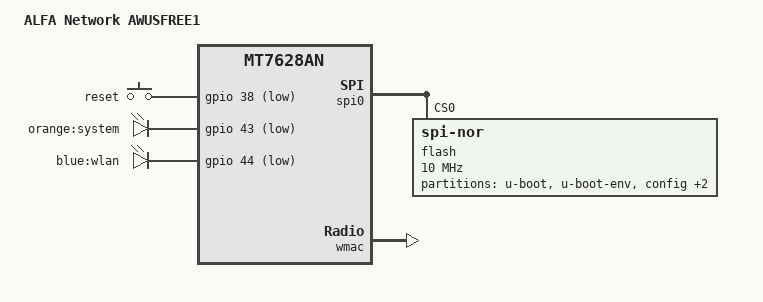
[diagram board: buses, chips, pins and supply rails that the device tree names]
// SPDX-License-Identifier: BSD-3-Clause
/*
 *  Copyright (C) 2018 Piotr Dymacz <pepe2k@gmail.com>
 *  All rights reserved.
 */

#include "mt7628an.dtsi"

#include <dt-bindings/gpio/gpio.h>
#include <dt-bindings/input/input.h>

/ {
	compatible = "alfa-network,awusfree1", "mediatek,mt7628an-soc";
	model = "ALFA Network AWUSFREE1";

	aliases {
		led-boot = &led_system;
		led-failsafe = &led_system;
		led-running = &led_system;
		led-upgrade = &led_system;
	};

	chosen {
		bootargs = "console=ttyS0,115200";
	};

	keys {
		compatible = "gpio-keys";

		reset {
			label = "reset";
			gpios = <&gpio 38 GPIO_ACTIVE_LOW>;
			linux,code = <KEY_RESTART>;
		};
	};

	leds {
		compatible = "gpio-leds";

		led_system: system {
			label = "orange:system";
			gpios = <&gpio 43 GPIO_ACTIVE_LOW>;
		};

		wlan {
			label = "blue:wlan";
			gpios = <&gpio 44 GPIO_ACTIVE_LOW>;
		};
	};
};

&ehci {
	status = "disabled";
};

&esw {
	mediatek,portdisable = <0x1e>;
};

&ethernet {
	mtd-mac-address = <&factory 0x2e>;
};

&ohci {
	status = "disabled";
};

&state_default {
	gpio {
		groups = "p0led_an", "wdt", "wled_an";
		function = "gpio";
	};

	ext_lna {
		groups = "uart1";
		function = "sw_r";
	};

	ext_pa {
		groups = "i2s";
		function = "antenna";
	};
};

&spi0 {
	status = "okay";

	flash@0 {
		compatible = "jedec,spi-nor";
		reg = <0>;
		spi-max-frequency = <10000000>;

		partitions {
			compatible = "fixed-partitions";
			#address-cells = <1>;
			#size-cells = <1>;

			partition@0 {
				label = "u-boot";
				reg = <0x0 0x30000>;
				read-only;
			};

			partition@30000 {
				label = "u-boot-env";
				reg = <0x30000 0x1000>;
			};

			partition@31000 {
				label = "config";
				reg = <0x31000 0xf000>;
				read-only;
			};

			factory: partition@40000 {
				label = "factory";
				reg = <0x40000 0x10000>;
				read-only;
			};

			partition@50000 {
				compatible = "denx,uimage";
				label = "firmware";
				reg = <0x50000 0x7b0000>;
			};
		};
	};
};

&wmac {
	status = "okay";
};
